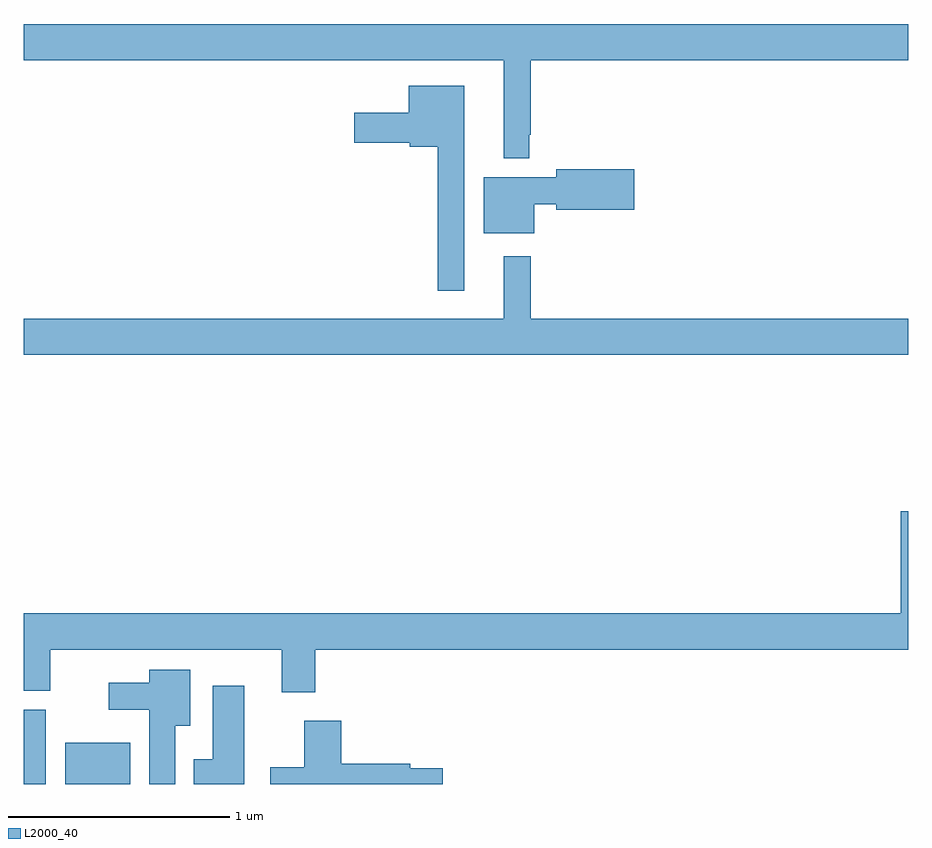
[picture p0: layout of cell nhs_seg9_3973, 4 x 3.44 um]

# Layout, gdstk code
import gdstk
lib = gdstk.Library(unit=1e-6, precision=1e-09)
def R(c, l, rs):  # rectangles x0, y0, x1, y1
    for r in rs: c.add(gdstk.rectangle(r[:2], r[2:], *l))
def P(c, l, *ps):  # polygons
    for p in ps: c.add(gdstk.Polygon(p, *l))
L2000_40 = (2000, 40)

nhs_seg9_3973 = lib.new_cell('nhs_seg9_3973')
R(nhs_seg9_3973, L2000_40, [(339,1174.5,339.1,1174.836), (339.188,1174.5,339.481,1174.687)])
P(nhs_seg9_3973, L2000_40, [(341.286,1177.435),(341.293,1177.435),(341.293,1177.772),(343,1177.772),(343,1177.936),(339,1177.936),(339,1177.772),(341.171,1177.772),(341.171,1177.328),(341.286,1177.328)],
  [(340.993,1177.657),(340.742,1177.657),(340.742,1177.534),(340.494,1177.534),(340.494,1177.4),(340.746,1177.4),(340.746,1177.382),(340.872,1177.382),(340.872,1176.729),(340.993,1176.729)],
  [(341.308,1177.12),(341.408,1177.12),(341.408,1177.097),(341.761,1177.097),(341.761,1177.28),(341.408,1177.28),(341.408,1177.243),(341.081,1177.243),(341.081,1176.989),(341.308,1176.989)],
  [(343,1176.604),(341.293,1176.604),(341.293,1176.886),(341.171,1176.886),(341.171,1176.604),(339,1176.604),(339,1176.44),(343,1176.44)],
  [(340.319,1175.108),(343,1175.108),(343,1175.734),(342.965,1175.734),(342.965,1175.272),(339,1175.272),(339,1174.921),(339.121,1174.921),(339.121,1175.108),(340.166,1175.108),(340.166,1174.914),(340.319,1174.914)],
  [(339.685,1174.763),(339.754,1174.763),(339.754,1175.017),(339.569,1175.017),(339.569,1174.957),(339.384,1174.957),(339.384,1174.835),(339.569,1174.835),(339.569,1174.5),(339.685,1174.5)],
  [(339.997,1174.945),(339.854,1174.945),(339.854,1174.612),(339.77,1174.612),(339.77,1174.5),(339.997,1174.5)],
  [(340.895,1174.572),(340.748,1174.572),(340.748,1174.592),(340.436,1174.592),(340.436,1174.786),(340.268,1174.786),(340.268,1174.575),(340.116,1174.575),(340.116,1174.5),(340.895,1174.5)])

lib.write_gds('nhs_seg9_3973.gds')
